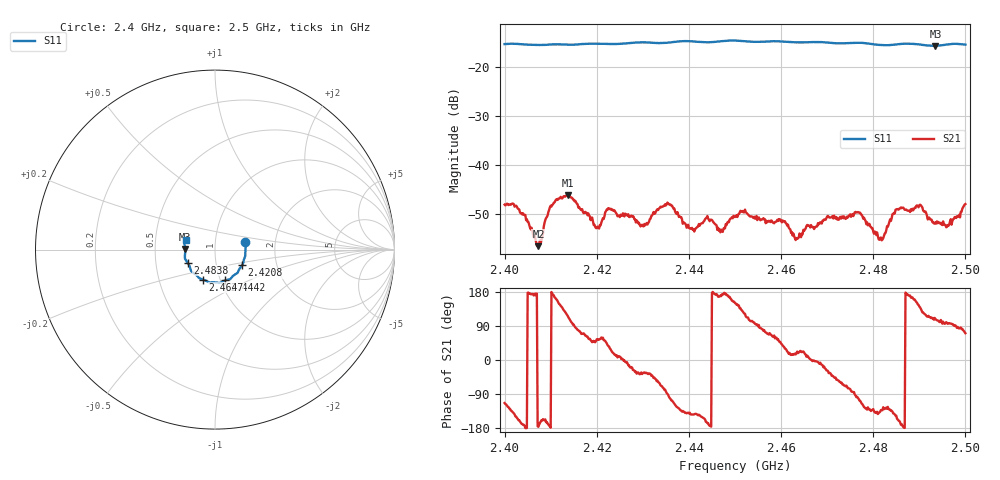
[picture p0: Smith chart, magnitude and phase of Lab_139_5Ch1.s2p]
# Hz S RI R 50
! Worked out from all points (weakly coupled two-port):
!   601 points, 2.4 GHz to 2.5 GHz, reference 50 ohm
!   highest |S21| = -46.14 dB at 2.4138 GHz (marker M1); lowest = -56.6 dB at 2.4073 GHz (marker M2)
!   lowest |S11| = -15.6 dB at 2.4935 GHz (marker M3), VSWR 1.40, Z = 35.8 + j0.215 ohm
!   |S11| at or under -10 dB: start of sweep to end of sweep
!   S12 and S22 are empty: the file has one direction only
!   S11 on the Smith chart (normalised r, x): 2.4 GHz: 1.40, +0.12; 2.4208 GHz: 1.33, -0.24; 2.4442 GHz: 1.05, -0.37; 2.4647 GHz: 0.83, -0.29; 2.4838 GHz: 0.73, -0.11; 2.5 GHz: 0.72, +0.08
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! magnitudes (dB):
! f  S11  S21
! 2.4 GHz  -15.2  -48.1
! 2.4073 GHz  -15.4  -56.6
! 2.4102 GHz  -15.3  -48.5
! 2.4138 GHz  -15.4  -46.1
! 2.4167 GHz  -15.2  -49.2
! 2.4208 GHz  -15.2  -52.3
! 2.4227 GHz  -15.2  -49.0
! 2.43 GHz  -14.9  -52.5
! 2.4333 GHz  -15.0  -49.2
! 2.4407 GHz  -14.7  -52.8
! 2.4442 GHz  -14.9  -50.9
! 2.447 GHz  -14.7  -53.2
! 2.45 GHz  -14.5  -50.6
! 2.4647 GHz  -14.9  -54.2
! 2.4667 GHz  -14.8  -52.7
! 2.4767 GHz  -15.0  -49.6
! 2.4817 GHz  -15.4  -54.8
! 2.4833 GHz  -15.5  -52.1
! 2.4838 GHz  -15.4  -51.4
! 2.49 GHz  -15.3  -48.2
! 2.4935 GHz  -15.6  -51.7
! 2.5 GHz  -15.3  -48.0
